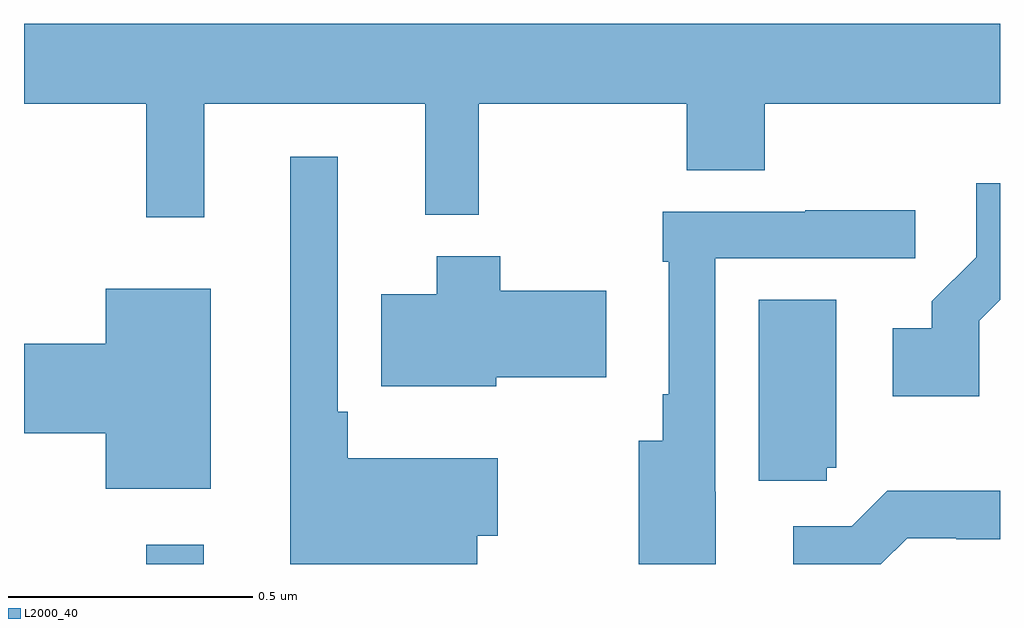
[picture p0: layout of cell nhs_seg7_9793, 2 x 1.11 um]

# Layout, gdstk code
import gdstk
lib = gdstk.Library(unit=1e-6, precision=1e-09)
def R(c, l, rs):  # rectangles x0, y0, x1, y1
    for r in rs: c.add(gdstk.rectangle(r[:2], r[2:], *l))
def P(c, l, *ps):  # polygons
    for p in ps: c.add(gdstk.Polygon(p, *l))
L2000_40 = (2000, 40)

nhs_seg7_9793 = lib.new_cell('nhs_seg7_9793')
R(nhs_seg7_9793, L2000_40, [(242.251,1005,242.368,1005.04)])
P(nhs_seg7_9793, L2000_40, [(242.369,1005.944),(242.822,1005.944),(242.822,1005.716),(242.932,1005.716),(242.932,1005.944),(243.358,1005.944),(243.358,1005.808),(243.518,1005.808),(243.518,1005.944),(244,1005.944),(244,1006.108),(242,1006.108),(242,1005.944),(242.251,1005.944),(242.251,1005.711),(242.369,1005.711)],
  [(242.929,1005.059),(242.971,1005.059),(242.971,1005.217),(242.663,1005.217),(242.663,1005.313),(242.643,1005.313),(242.643,1005.835),(242.546,1005.835),(242.546,1005),(242.929,1005)],
  [(243.957,1005.499),(244,1005.542),(244,1005.781),(243.951,1005.781),(243.951,1005.629),(243.86,1005.539),(243.86,1005.484),(243.78,1005.484),(243.78,1005.344),(243.957,1005.344)],
  [(243.418,1005.149),(243.417,1005.149),(243.417,1005.627),(243.826,1005.627),(243.826,1005.726),(243.601,1005.726),(243.601,1005.723),(243.309,1005.723),(243.309,1005.62),(243.321,1005.62),(243.321,1005.349),(243.309,1005.349),(243.309,1005.253),(243.26,1005.253),(243.26,1005),(243.418,1005)],
  [(242.968,1005.383),(243.193,1005.383),(243.193,1005.561),(242.976,1005.561),(242.976,1005.631),(242.846,1005.631),(242.846,1005.553),(242.732,1005.553),(242.732,1005.365),(242.968,1005.365)],
  [(242.383,1005.565),(242.168,1005.565),(242.168,1005.452),(242,1005.452),(242,1005.269),(242.168,1005.269),(242.168,1005.155),(242.383,1005.155)],
  [(243.645,1005.198),(243.664,1005.198),(243.664,1005.542),(243.506,1005.542),(243.506,1005.171),(243.645,1005.171)],
  [(243.81,1005.054),(243.91,1005.054),(243.91,1005.051),(244,1005.051),(244,1005.151),(243.769,1005.151),(243.696,1005.078),(243.576,1005.078),(243.576,1005),(243.756,1005)])

lib.write_gds('nhs_seg7_9793.gds')
